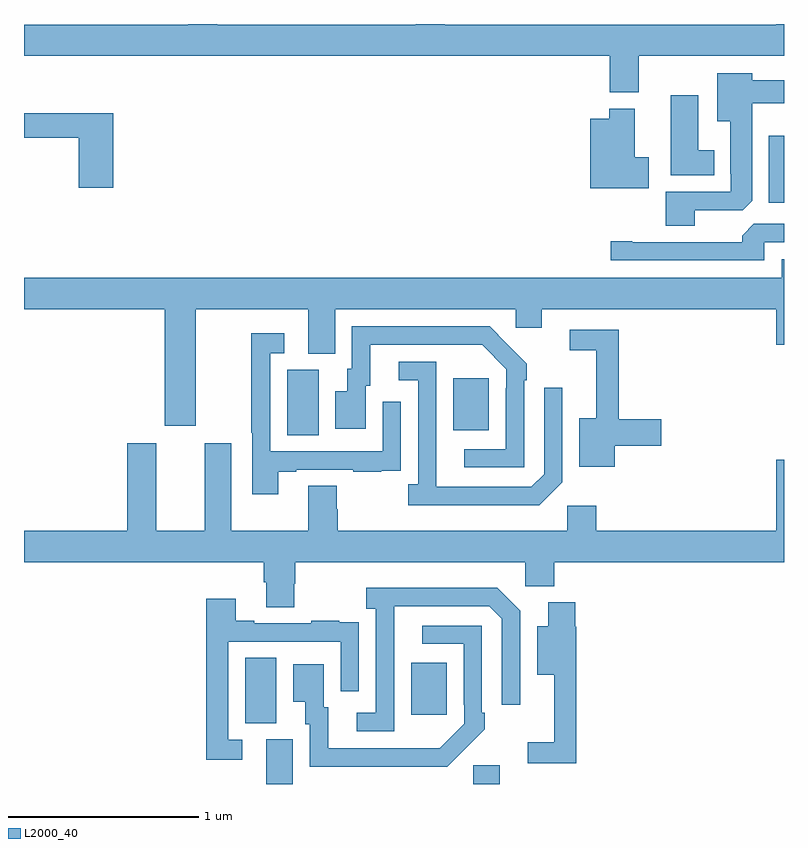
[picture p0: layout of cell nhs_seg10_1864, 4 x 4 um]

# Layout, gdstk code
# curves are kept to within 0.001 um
import gdstk
lib = gdstk.Library(unit=1e-6, precision=1e-09)
def R(c, l, rs):  # rectangles x0, y0, x1, y1
    for r in rs: c.add(gdstk.rectangle(r[:2], r[2:], *l))
def P(c, l, *ps):  # polygons
    for p in ps: c.add(gdstk.Polygon(p, *l))
L2000_40 = (2000, 40)

nhs_seg10_1864 = lib.new_cell('nhs_seg10_1864')
R(nhs_seg10_1864, L2000_40, [(210.275,1280.5,210.415,1280.736), (211.365,1280.5,211.504,1280.598), (210.164,1280.821,210.328,1281.164), (211.037,1280.865,211.225,1281.139), (210.386,1282.336,210.55,1282.68), (211.259,1282.361,211.447,1282.636), (212.921,1283.558,213,1283.911)])
P(nhs_seg10_1864, L2000_40, [(212.236,1284.332),(213,1284.332),(213,1284.5),(212.96,1284.5),(212.96,1284.496),(211.214,1284.496),(211.214,1284.5),(211.061,1284.5),(211.061,1284.496),(210.016,1284.496),(210.016,1284.5),(209.864,1284.5),(209.864,1284.496),(209,1284.496),(209,1284.332),(212.084,1284.332),(212.084,1284.14),(212.236,1284.14)],
  [(212.53,1283.52),(212.784,1283.52),(212.833,1283.569),(212.833,1284.083),(213,1284.083),(213,1284.205),(212.833,1284.205),(212.833,1284.241),(212.648,1284.241),(212.648,1283.987),(212.717,1283.987),(212.717,1283.713),(212.721,1283.713),(212.721,1283.616),(212.378,1283.616),(212.378,1283.437),(212.53,1283.437)],
  [(212.632,1283.836),(212.548,1283.836),(212.548,1284.124),(212.405,1284.124),(212.405,1283.705),(212.632,1283.705)],
  [(212.287,1283.799),(212.215,1283.799),(212.215,1284.055),(212.081,1284.055),(212.081,1284.001),(211.979,1284.001),(211.979,1283.636),(212.287,1283.636)],
  [(209.471,1284.031),(209,1284.031),(209,1283.902),(209.288,1283.902),(209.288,1283.637),(209.471,1283.637)],
  [(212.895,1283.352),(213,1283.352),(213,1283.448),(212.841,1283.448),(212.78,1283.386),(212.78,1283.352),(212.2,1283.352),(212.2,1283.357),(212.088,1283.357),(212.088,1283.256),(212.895,1283.256)],
  [(209.905,1283),(210.497,1283),(210.497,1282.765),(210.637,1282.765),(210.637,1283),(211.587,1283),(211.587,1282.902),(211.726,1282.902),(211.726,1283),(212.96,1283),(212.96,1282.812),(213,1282.812),(213,1283.263),(212.987,1283.263),(212.987,1283.164),(209,1283.164),(209,1283),(209.741,1283),(209.741,1282.386),(209.905,1282.386)],
  [(211.632,1282.625),(211.647,1282.625),(211.647,1282.713),(211.45,1282.908),(210.726,1282.908),(210.726,1282.686),(210.701,1282.686),(210.701,1282.567),(210.638,1282.567),(210.638,1282.371),(210.799,1282.371),(210.799,1282.596),(210.823,1282.596),(210.823,1282.812),(211.411,1282.812),(211.539,1282.683),(211.539,1282.583),(211.536,1282.583),(211.536,1282.263),(211.317,1282.263),(211.317,1282.167),(211.632,1282.167)],
  [(212.11,1282.279),(212.353,1282.279),(212.353,1282.421),(212.129,1282.421),(212.129,1282.89),(211.872,1282.89),(211.872,1282.782),(212.012,1282.782),(212.012,1282.426),(211.922,1282.426),(211.922,1282.169),(212.11,1282.169)],
  [(210.337,1282.143),(210.433,1282.143),(210.433,1282.155),(210.733,1282.155),(210.733,1282.143),(210.881,1282.143),(210.881,1282.149),(210.983,1282.149),(210.983,1282.258),(210.984,1282.258),(210.984,1282.513),(210.888,1282.513),(210.888,1282.251),(210.297,1282.251),(210.297,1282.767),(210.37,1282.767),(210.37,1282.873),(210.196,1282.873),(210.196,1282.348),(210.201,1282.348),(210.201,1282.026),(210.337,1282.026)],
  [(211.833,1282.089),(211.833,1282.585),(211.737,1282.585),(211.737,1282.131),(211.671,1282.065),(211.171,1282.065),(211.17,1282.722),(210.972,1282.722),(210.972,1282.626),(211.074,1282.626),(211.074,1282.078),(211.023,1282.078),(211.023,1281.968),(211.712,1281.968)],
  [(213,1282.207),(212.96,1282.207),(212.96,1281.832),(212.012,1281.832),(212.012,1281.964),(211.86,1281.964),(211.86,1281.832),(210.65,1281.832),(210.65,1281.945),(210.645,1281.945),(210.645,1282.07),(210.497,1282.07),(210.497,1281.832),(210.091,1281.832),(210.091,1282.294),(209.951,1282.294),(209.951,1281.832),(209.695,1281.832),(209.695,1282.294),(209.543,1282.294),(209.543,1281.832),(209,1281.832),(209,1281.668),(210.263,1281.668),(210.263,1281.562),(210.275,1281.562),(210.275,1281.43),(210.423,1281.43),(210.423,1281.555),(210.428,1281.555),(210.428,1281.668),(211.638,1281.668),(211.638,1281.542),(211.79,1281.542),(211.79,1281.668),(213,1281.668)],
  [(210.948,1281.235),(210.949,1281.435),(211.449,1281.435),(211.515,1281.369),(211.515,1280.916),(211.611,1280.916),(211.611,1281.411),(211.49,1281.532),(210.801,1281.532),(210.801,1281.422),(210.852,1281.422),(210.852,1280.874),(210.75,1280.874),(210.75,1280.778),(210.948,1280.778)],
  [(210.148,1280.733),(210.075,1280.733),(210.075,1281.249),(210.666,1281.249),(210.666,1280.988),(210.762,1280.988),(210.762,1281.242),(210.761,1281.242),(210.761,1281.351),(210.659,1281.351),(210.659,1281.358),(210.511,1281.358),(210.511,1281.345),(210.211,1281.345),(210.211,1281.358),(210.115,1281.358),(210.115,1281.475),(209.959,1281.475),(209.959,1280.628),(210.148,1280.628)],
  [(211.907,1281.327),(211.901,1281.327),(211.901,1281.457),(211.76,1281.457),(211.76,1281.331),(211.7,1281.331),(211.7,1281.074),(211.79,1281.074),(211.79,1280.719),(211.65,1280.719),(211.65,1280.61),(211.907,1280.61)],
  [(211.319,1280.683),(211.32,1280.682),(211.425,1280.787),(211.425,1280.875),(211.41,1280.875),(211.41,1281.333),(211.095,1281.333),(211.095,1281.237),(211.314,1281.237),(211.314,1280.917),(211.317,1280.917),(211.317,1280.817),(211.189,1280.689),(210.601,1280.688),(210.601,1280.904),(210.577,1280.904),(210.577,1281.13),(210.416,1281.13),(210.416,1280.933),(210.479,1280.933),(210.479,1280.814),(210.504,1280.814),(210.504,1280.592),(211.228,1280.592)])

lib.write_gds('nhs_seg10_1864.gds')
